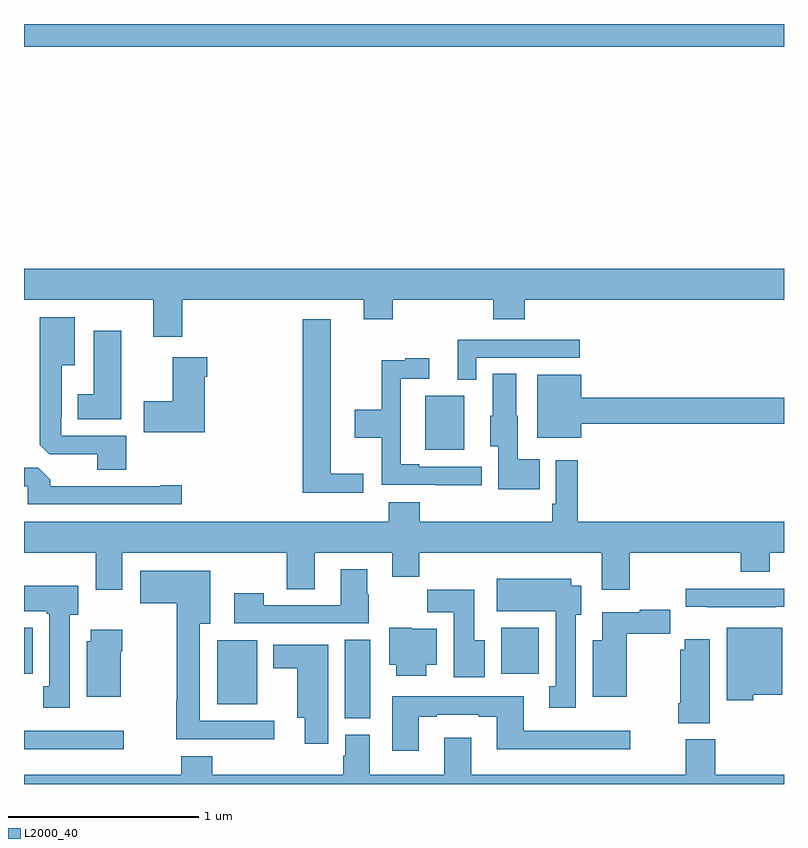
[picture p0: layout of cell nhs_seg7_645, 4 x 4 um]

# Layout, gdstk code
import gdstk
lib = gdstk.Library(unit=1e-6, precision=1e-09)
def R(c, l, rs):  # rectangles x0, y0, x1, y1
    for r in rs: c.add(gdstk.rectangle(r[:2], r[2:], *l))
def P(c, l, *ps):  # polygons
    for p in ps: c.add(gdstk.Polygon(p, *l))
L2000_40 = (2000, 40)

nhs_seg7_645 = lib.new_cell('nhs_seg7_645')
R(nhs_seg7_645, L2000_40, [(159,1066.184,159.526,1066.281), (160.688,1066.345,160.822,1066.76), (160.016,1066.421,160.228,1066.756), (159,1066.58,159.046,1066.822), (161.513,1066.58,161.71,1066.822), (161.111,1067.759,161.317,1068.043), (159,1069.88,163,1070)])
P(nhs_seg7_645, L2000_40, [(159.833,1068.548),(160.787,1068.548),(160.787,1068.446),(160.94,1068.446),(160.94,1068.548),(161.471,1068.548),(161.471,1068.446),(161.636,1068.446),(161.636,1068.548),(163,1068.548),(163,1068.712),(159,1068.712),(159,1068.548),(159.68,1068.548),(159.68,1068.354),(159.833,1068.354)],
  [(159.539,1067.832),(159.195,1067.832),(159.195,1067.929),(159.199,1067.929),(159.199,1068.203),(159.268,1068.203),(159.268,1068.457),(159.083,1068.457),(159.083,1067.785),(159.132,1067.736),(159.386,1067.736),(159.386,1067.653),(159.539,1067.653)],
  [(160.786,1067.633),(160.615,1067.633),(160.615,1068.445),(160.466,1068.445),(160.466,1067.534),(160.786,1067.534)],
  [(159.511,1068.385),(159.368,1068.385),(159.368,1068.052),(159.284,1068.052),(159.284,1067.921),(159.511,1067.921)],
  [(161.379,1068.243),(161.926,1068.243),(161.926,1068.339),(161.282,1068.339),(161.282,1068.128),(161.379,1068.128)],
  [(159.952,1068.143),(159.965,1068.143),(159.965,1068.247),(159.782,1068.247),(159.782,1068.015),(159.63,1068.015),(159.63,1067.852),(159.952,1067.852)],
  [(161.41,1067.67),(161.08,1067.67),(161.08,1067.683),(160.983,1067.683),(160.983,1068.132),(161.134,1068.132),(161.134,1068.241),(161.006,1068.241),(161.006,1068.23),(160.882,1068.23),(160.882,1067.97),(160.74,1067.97),(160.74,1067.822),(160.882,1067.822),(160.882,1067.574),(161.167,1067.574),(161.167,1067.573),(161.41,1067.573)],
  [(161.714,1067.71),(161.599,1067.71),(161.599,1067.937),(161.59,1067.937),(161.59,1068.158),(161.468,1068.158),(161.468,1067.937),(161.453,1067.937),(161.453,1067.778),(161.495,1067.778),(161.495,1067.552),(161.714,1067.552)],
  [(161.932,1067.896),(163,1067.896),(163,1068.032),(161.932,1068.032),(161.932,1068.154),(161.702,1068.154),(161.702,1067.822),(161.932,1067.822)],
  [(159.517,1067.216),(160.384,1067.216),(160.384,1067.026),(160.531,1067.026),(160.531,1067.216),(160.937,1067.216),(160.937,1067.092),(161.081,1067.092),(161.081,1067.216),(162.041,1067.216),(162.041,1067.022),(162.189,1067.022),(162.189,1067.216),(162.773,1067.216),(162.773,1067.117),(162.925,1067.117),(162.925,1067.216),(163,1067.216),(163,1067.38),(161.915,1067.38),(161.915,1067.704),(161.799,1067.704),(161.799,1067.476),(161.779,1067.476),(161.779,1067.38),(161.084,1067.38),(161.084,1067.482),(160.919,1067.482),(160.919,1067.38),(159,1067.38),(159,1067.216),(159.377,1067.216),(159.377,1067.022),(159.517,1067.022)],
  [(159.829,1067.573),(159.716,1067.573),(159.716,1067.568),(159.137,1067.568),(159.137,1067.602),(159.075,1067.664),(159,1067.664),(159,1067.568),(159.021,1067.568),(159.021,1067.472),(159.829,1067.472)],
  [(160.815,1067),(160.807,1067),(160.807,1067.131),(160.667,1067.131),(160.667,1066.941),(160.263,1066.941),(160.263,1067.005),(160.107,1067.005),(160.107,1066.845),(160.815,1066.845)],
  [(160.318,1066.332),(159.925,1066.332),(159.925,1066.844),(159.979,1066.844),(159.979,1067.122),(159.612,1067.122),(159.612,1066.952),(159.805,1066.952),(159.805,1066.439),(159.8,1066.439),(159.8,1066.235),(160.318,1066.235)],
  [(161.905,1066.89),(161.932,1066.89),(161.932,1067.044),(161.881,1067.044),(161.881,1067.08),(161.489,1067.08),(161.489,1066.91),(161.798,1066.91),(161.798,1066.514),(161.765,1066.514),(161.765,1066.401),(161.905,1066.401)],
  [(159.241,1066.89),(159.286,1066.89),(159.286,1067.044),(159,1067.044),(159,1066.91),(159.121,1066.91),(159.121,1066.897),(159.134,1066.897),(159.134,1066.514),(159.101,1066.514),(159.101,1066.401),(159.241,1066.401)],
  [(162.956,1066.932),(163,1066.932),(163,1067.028),(162.484,1067.028),(162.484,1066.933),(162.595,1066.933),(162.595,1066.931),(162.956,1066.931)],
  [(161.425,1066.756),(161.371,1066.756),(161.371,1067.022),(161.122,1067.022),(161.122,1066.904),(161.261,1066.904),(161.261,1066.563),(161.425,1066.563)],
  [(162.172,1066.79),(162.401,1066.79),(162.401,1066.916),(162.24,1066.916),(162.24,1066.903),(162.044,1066.903),(162.044,1066.756),(161.993,1066.756),(161.993,1066.46),(162.172,1066.46)],
  [(161.116,1066.628),(161.173,1066.628),(161.173,1066.816),(161.04,1066.816),(161.04,1066.822),(160.922,1066.822),(160.922,1066.628),(160.958,1066.628),(160.958,1066.571),(161.116,1066.571)],
  [(162.837,1066.469),(162.991,1066.469),(162.991,1066.822),(162.698,1066.822),(162.698,1066.442),(162.837,1066.442)],
  [(159.508,1066.7),(159.516,1066.7),(159.516,1066.813),(159.35,1066.813),(159.35,1066.752),(159.329,1066.752),(159.329,1066.46),(159.508,1066.46)],
  [(162.61,1066.763),(162.477,1066.763),(162.477,1066.707),(162.455,1066.707),(162.455,1066.426),(162.443,1066.426),(162.443,1066.321),(162.61,1066.321)],
  [(160.6,1066.732),(160.313,1066.732),(160.313,1066.61),(160.439,1066.61),(160.439,1066.349),(160.478,1066.349),(160.478,1066.212),(160.6,1066.212)],
  [(161.077,1066.353),(161.173,1066.353),(161.173,1066.365),(161.393,1066.365),(161.393,1066.353),(161.489,1066.353),(161.489,1066.184),(162.19,1066.184),(162.19,1066.281),(161.629,1066.281),(161.629,1066.461),(160.937,1066.461),(160.937,1066.176),(161.077,1066.176)],
  [(163,1066.048),(162.639,1066.048),(162.639,1066.236),(162.484,1066.236),(162.484,1066.048),(161.353,1066.048),(161.353,1066.243),(161.213,1066.243),(161.213,1066.048),(160.819,1066.048),(160.819,1066.26),(160.691,1066.26),(160.691,1066.149),(160.679,1066.149),(160.679,1066.048),(159.992,1066.048),(159.992,1066.147),(159.827,1066.147),(159.827,1066.048),(159,1066.048),(159,1066),(163,1066)])

lib.write_gds('nhs_seg7_645.gds')
